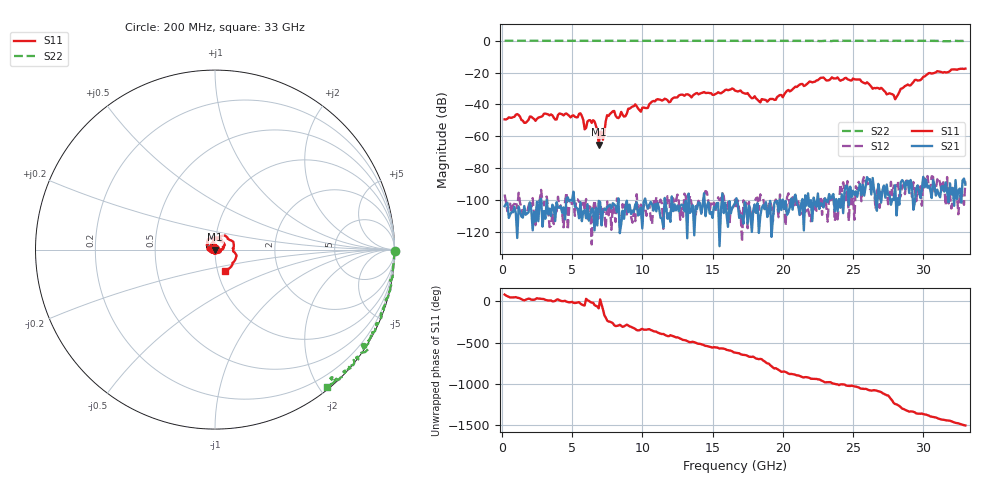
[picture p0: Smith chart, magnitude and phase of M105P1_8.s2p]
# GHZ S RI R 50
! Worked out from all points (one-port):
!   329 points, 200 MHz to 33 GHz, reference 50 ohm
!   lowest |S11| = -65.2 dB at 6.9 GHz (marker M1), VSWR 1.00, Z = 50 - j0.0547 ohm
!   |S11| at or under -10 dB: start of sweep to end of sweep
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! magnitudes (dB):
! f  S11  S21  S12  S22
! 200 MHz  -49.3  -103.9  -96.5  0.0
! 5.7 GHz  -47.2  -113.2  -104.5  0.0
! 5.9 GHz  -55.6  -106.3  -106.0  0.0
! 6.6 GHz  -50.6  -119.0  -100.1  0.0
! 6.8 GHz  -56.2  -115.9  -104.2  0.0
! 6.9 GHz  -65.2  -100.5  -111.5  0.0
! 7 GHz  -57.2  -101.2  -102.6  0.0
! 7.2 GHz  -62.1  -107.1  -105.9  0.0
! 7.5 GHz  -46.7  -104.6  -100.9  -0.1
! 8.8 GHz  -47.4  -104.6  -102.7  0.0
! 9.5 GHz  -40.0  -102.9  -113.2  0.0
! 9.9 GHz  -44.6  -104.7  -102.8  0.0
! 11.2 GHz  -36.9  -105.3  -102.0  0.0
! 16.6 GHz  -31.3  -101.8  -99.7  0.0
! 18.9 GHz  -38.3  -110.6  -106.7  0.0
! 22.1 GHz  -26.1  -113.2  -106.2  0.0
! 25.5 GHz  -24.3  -90.0  -90.6  0.0
! 27.6 GHz  -33.0  -97.1  -100.6  0.0
! 28 GHz  -36.7  -90.7  -91.6  0.0
! 28.4 GHz  -30.2  -88.8  -97.4  -0.1
! 30.4 GHz  -20.3  -91.0  -91.4  0.0
! 33 GHz  -17.5  -90.3  -88.3  -0.1
